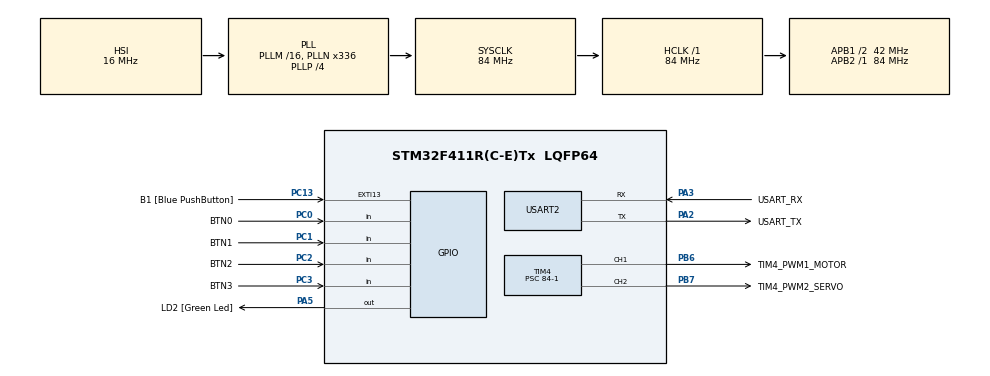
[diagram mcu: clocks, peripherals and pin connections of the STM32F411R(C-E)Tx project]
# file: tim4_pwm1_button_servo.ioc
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Mcu.Family=STM32F4
Mcu.Name=STM32F411R(C-E)Tx
Mcu.Package=LQFP64
NVIC.PriorityGroup=NVIC_PRIORITYGROUP_0
NVIC.TIM4_IRQn=true\:0\:0\:false\:false\:true\:true\:true\:true
PA13.GPIO_Label=TMS
PA13.Mode=Serial_Wire
PA13.Signal=SYS_JTMS-SWDIO
PA14.GPIO_Label=TCK
PA14.Mode=Serial_Wire
PA14.Signal=SYS_JTCK-SWCLK
PA2.GPIO_Label=USART_TX
PA2.Mode=Asynchronous
PA2.Signal=USART2_TX
PA3.GPIO_Label=USART_RX
PA3.Mode=Asynchronous
PA3.Signal=USART2_RX
PA5.GPIO_Label=LD2 [Green Led]
PA5.Signal=GPIO_Output
PB3.GPIO_Label=SWO
PB3.Signal=SYS_JTDO-SWO
PB6.GPIO_Label=TIM4_PWM1_MOTOR
PB6.Signal=S_TIM4_CH1
PB7.GPIO_Label=TIM4_PWM2_SERVO
PB7.Signal=S_TIM4_CH2
PC0.GPIO_Label=BTN0
PC0.Signal=GPIO_Input
PC1.GPIO_Label=BTN1
PC1.Signal=GPIO_Input
PC13-ANTI_TAMP.GPIO_Label=B1 [Blue PushButton]
PC13-ANTI_TAMP.GPIO_ModeDefaultEXTI=GPIO_MODE_IT_FALLING
PC13-ANTI_TAMP.Signal=GPXTI13
PC14-OSC32_IN.Signal=RCC_OSC32_IN
PC15-OSC32_OUT.Signal=RCC_OSC32_OUT
PC2.GPIO_Label=BTN2
PC2.Signal=GPIO_Input
PC3.GPIO_Label=BTN3
PC3.Signal=GPIO_Input
PH0\ -\ OSC_IN.Signal=RCC_OSC_IN
PH1\ -\ OSC_OUT.Signal=RCC_OSC_OUT
ProjectManager.HeapSize=0x200
ProjectManager.StackSize=0x400
ProjectManager.TargetToolchain=STM32CubeIDE
RCC.48MHZClocksFreq_Value=84000000
RCC.AHBFreq_Value=84000000
RCC.APB1CLKDivider=RCC_HCLK_DIV2
RCC.APB1Freq_Value=42000000
RCC.APB1TimFreq_Value=84000000
RCC.APB2Freq_Value=84000000
RCC.APB2TimFreq_Value=84000000
RCC.CortexFreq_Value=84000000
RCC.FLatency-AdvancedSettings=FLASH_LATENCY_2
RCC.HCLKFreq_Value=84000000
RCC.HSE_VALUE=8000000
RCC.HSI_VALUE=16000000
RCC.LSE_VALUE=32768
RCC.PLLN=336
RCC.PLLP=RCC_PLLP_DIV4
RCC.SYSCLKFreq_VALUE=84000000
RCC.SYSCLKSource=RCC_SYSCLKSOURCE_PLLCLK
RCC.VCOOutputFreq_Value=336000000
SH.S_TIM4_CH1.0=TIM4_CH1,PWM Generation1 CH1
SH.S_TIM4_CH2.0=TIM4_CH2,PWM Generation2 CH2
TIM4.AutoReloadPreload=TIM_AUTORELOAD_PRELOAD_ENABLE
TIM4.Channel-PWM\ Generation1\ CH1=TIM_CHANNEL_1
TIM4.Channel-PWM\ Generation2\ CH2=TIM_CHANNEL_2
TIM4.Period=20000-1
TIM4.Prescaler=84-1
TIM4.Pulse-PWM\ Generation1\ CH1=0
USART2.VirtualMode=VM_ASYNC
VP_TIM4_VS_ClockSourceINT.Mode=Internal
board=NUCLEO-F411RE

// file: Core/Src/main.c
/* USER CODE BEGIN Header */
/**
  ******************************************************************************
  * @file           : main.c
  * @brief          : Main program body
  ******************************************************************************
  * @attention
  *
  * Copyright (c) 2025 STMicroelectronics.
  * All rights reserved.
  *
  * This software is licensed under terms that can be found in the LICENSE file
  * in the root directory of this software component.
  * If no LICENSE file comes with this software, it is provided AS-IS.
  *
  ******************************************************************************
  */
/* USER CODE END Header */
#include "main.h"

/* USER CODE BEGIN Includes */
#include <stdio.h>
/* USER CODE END Includes */

/* USER CODE BEGIN PD */
#ifdef __GNUC__
/* With GCC, small printf (option LD Linker->Libraries->Small printf
   set to 'Yes') calls __io_putchar() */
#define PUTCHAR_PROTOTYPE int __io_putchar(int ch)
#else
#define PUTCHAR_PROTOTYPE int fputc(int ch, FILE *f)
#endif /* __GNUC__ */

/* USER CODE END PD */

TIM_HandleTypeDef htim4;

UART_HandleTypeDef huart2;

/* USER CODE BEGIN PV */
volatile int time3SecFlag = 0;
volatile unsigned int time3SecCnt = 0;
volatile unsigned int time3Cnt = 0;
volatile int time3CntFlag = 1;
volatile int time3_100msFlag = 0;
unsigned long debounceDelay = 100;	//10ms
unsigned long lastDebounceTime = 0;
/* USER CODE END PV */

void SystemClock_Config(void);
static void MX_GPIO_Init(void);
static void MX_USART2_UART_Init(void);
static void MX_TIM4_Init(void);

/* USER CODE BEGIN PFP */
int getKeyNumber();
/* USER CODE END PFP */

int main(void)
{

  /* USER CODE BEGIN 1 */
	int pulse = 0;
	int keyNumber = 0;
  /* USER CODE END 1 */

  /* MCU Configuration--------------------------------------------------------*/

  /* Reset of all peripherals, Initializes the Flash interface and the Systick. */
  HAL_Init();

  /* Configure the system clock */
  SystemClock_Config();

  /* Initialize all configured peripherals */
  MX_GPIO_Init();
  MX_USART2_UART_Init();
  MX_TIM4_Init();
  printf("start main()!\r\n");
  /* USER CODE BEGIN 2 */
  if(HAL_TIM_Base_Start_IT(&htim4) != HAL_OK)
	  Error_Handler();
  if(HAL_TIM_PWM_Start(&htim4, TIM_CHANNEL_1) != HAL_OK)
	  Error_Handler();
  if(HAL_TIM_PWM_Start(&htim4, TIM_CHANNEL_2) != HAL_OK)
	  Error_Handler();

  /* USER CODE END 2 */

  /* Infinite loop */
  /* USER CODE BEGIN WHILE */
  lastDebounceTime = HAL_GetTick();
  while (1)
  {
	  //HAL_GPIO_WritePin(LD2_GPIO_Port, LD2_Pin, HAL_GPIO_ReadPin(BTN3_GPIO_Port, BTN3_Pin));
	  if(time3SecFlag)
	  {
		  HAL_GPIO_TogglePin(LD2_GPIO_Port, LD2_Pin);
		  time3SecFlag = 0;
//		  printf("time3SecCnt : %d , pulse : %d \r\n", time3SecCnt, pulse);
	  }

	  if((HAL_GetTick() - lastDebounceTime) > debounceDelay)
	  {
		  keyNumber = getKeyNumber();
		  if(keyNumber != 0)
		  {
				  printf("keyNum : %d\r\n",keyNumber);
				  if( (pulse == 500 && keyNumber == 1) || (pulse == 2500 && keyNumber == 2))
					  continue;
				  if( (pulse == 500 && keyNumber == 3)|| (pulse == 2500 && keyNumber == 4))
					  continue;
#if 1  //180 servo
				  if(keyNumber == 1)
				  {
					  pulse = 500;
				  }
				  else if(keyNumber == 2)	//duty ratio 100%
				  {
					  pulse = 2500;
				  }
				  else if((keyNumber == 3) && (pulse > 500) )
				  {
					  pulse -= 200;		//-10%
				  }
				  else if((keyNumber == 4) && (pulse < 2500) )
				  {
					  pulse += 200;		//+10%
				  }
#endif

#if 0	//360 servo
				  if(keyNumber == 1)		//정지
				  {
					  pulse = 1500;
				  }
				  else if(keyNumber == 2)	//왼쪽 회전
				  {
					  pulse = 2500;
//					  pulse = 1700;			//왼쪽 천천히
				  }
				  else if(keyNumber == 3)	//오른쪽 회전
				  {
					  pulse = 500;
				  }
				  else if(keyNumber == 4)	//오른쪽 천천히
				  {
					  pulse = 1300;
				  }
#endif

				  __HAL_TIM_SetCompare(&htim4,TIM_CHANNEL_2, pulse-1);
				  printf("pulse : %d \r\n", pulse);
		  }

#if 0 //tim4_pwm1 (channel1)
		  if(keyNumber != 0)
		  {
				  printf("keyNum : %d\r\n",keyNumber);
				  if( (pulse == 0 && keyNumber == 1) || (pulse == 1000 && keyNumber == 2))
					  continue;
				  if( (pulse == 0 && keyNumber == 3)|| (pulse == 1000 && keyNumber == 4))
					  continue;

				  if(keyNumber == 1)
				  {
					  pulse = 0;
				  }
				  else if(keyNumber == 2)
				  {
					  pulse = 1000;
				  }
				  else if((keyNumber == 3) && (pulse > 0) )
				  {
					  pulse -= 100;		//-10%
				  }
				  else if((keyNumber == 4) && (pulse < 1000) )
				  {
					  pulse += 100;		//+10%
				  }
				  __HAL_TIM_SetCompare(&htim4,TIM_CHANNEL_1, (pulse-1)<0 ? 0 : pulse-1);
				  printf("pulse : %d \r\n", pulse);
		  }
#endif
	  }

#if 0
	  if(time3_100msFlag)
	  {
		  time3_100msFlag = 0;
		  if(pulse < 1000)
		  {
			  pulse += 10;
			  __HAL_TIM_SetCompare(&htim4,TIM_CHANNEL_1, pulse-1);
		  }
		  else if(pulse == 1000)
		  {
			  pulse = 0;
			  __HAL_TIM_SetCompare(&htim4,TIM_CHANNEL_1, pulse);
		  }
		  printf("time3SecCnt : %d , pulse : %d \r\n", time3SecCnt, pulse);
	  }
#endif
    /* USER CODE END WHILE */

  }
}

void SystemClock_Config(void)
{
  RCC_OscInitTypeDef RCC_OscInitStruct = {0};
  RCC_ClkInitTypeDef RCC_ClkInitStruct = {0};

  /** Configure the main internal regulator output voltage
  */
  __HAL_RCC_PWR_CLK_ENABLE();
  __HAL_PWR_VOLTAGESCALING_CONFIG(PWR_REGULATOR_VOLTAGE_SCALE1);

  /** Initializes the RCC Oscillators according to the specified parameters
  * in the RCC_OscInitTypeDef structure.
  */
  RCC_OscInitStruct.OscillatorType = RCC_OSCILLATORTYPE_HSI;
  RCC_OscInitStruct.HSIState = RCC_HSI_ON;
  RCC_OscInitStruct.HSICalibrationValue = RCC_HSICALIBRATION_DEFAULT;
  RCC_OscInitStruct.PLL.PLLState = RCC_PLL_ON;
  RCC_OscInitStruct.PLL.PLLSource = RCC_PLLSOURCE_HSI;
  RCC_OscInitStruct.PLL.PLLM = 16;
  RCC_OscInitStruct.PLL.PLLN = 336;
  RCC_OscInitStruct.PLL.PLLP = RCC_PLLP_DIV4;
  RCC_OscInitStruct.PLL.PLLQ = 4;
  if (HAL_RCC_OscConfig(&RCC_OscInitStruct) != HAL_OK)
  {
    Error_Handler();
  }

  /** Initializes the CPU, AHB and APB buses clocks
  */
  RCC_ClkInitStruct.ClockType = RCC_CLOCKTYPE_HCLK|RCC_CLOCKTYPE_SYSCLK
                              |RCC_CLOCKTYPE_PCLK1|RCC_CLOCKTYPE_PCLK2;
  RCC_ClkInitStruct.SYSCLKSource = RCC_SYSCLKSOURCE_PLLCLK;
  RCC_ClkInitStruct.AHBCLKDivider = RCC_SYSCLK_DIV1;
  RCC_ClkInitStruct.APB1CLKDivider = RCC_HCLK_DIV2;
  RCC_ClkInitStruct.APB2CLKDivider = RCC_HCLK_DIV1;

  if (HAL_RCC_ClockConfig(&RCC_ClkInitStruct, FLASH_LATENCY_2) != HAL_OK)
  {
    Error_Handler();
  }
}

static void MX_TIM4_Init(void)
{

  TIM_ClockConfigTypeDef sClockSourceConfig = {0};
  TIM_MasterConfigTypeDef sMasterConfig = {0};
  TIM_OC_InitTypeDef sConfigOC = {0};

  htim4.Instance = TIM4;
  htim4.Init.Prescaler = 84-1;
  htim4.Init.CounterMode = TIM_COUNTERMODE_UP;
  htim4.Init.Period = 20000-1;
  htim4.Init.ClockDivision = TIM_CLOCKDIVISION_DIV1;
  htim4.Init.AutoReloadPreload = TIM_AUTORELOAD_PRELOAD_ENABLE;
  if (HAL_TIM_Base_Init(&htim4) != HAL_OK)
  {
    Error_Handler();
  }
  sClockSourceConfig.ClockSource = TIM_CLOCKSOURCE_INTERNAL;
  if (HAL_TIM_ConfigClockSource(&htim4, &sClockSourceConfig) != HAL_OK)
  {
    Error_Handler();
  }
  if (HAL_TIM_PWM_Init(&htim4) != HAL_OK)
  {
    Error_Handler();
  }
  sMasterConfig.MasterOutputTrigger = TIM_TRGO_RESET;
  sMasterConfig.MasterSlaveMode = TIM_MASTERSLAVEMODE_DISABLE;
  if (HAL_TIMEx_MasterConfigSynchronization(&htim4, &sMasterConfig) != HAL_OK)
  {
    Error_Handler();
  }
  sConfigOC.OCMode = TIM_OCMODE_PWM1;
  sConfigOC.Pulse = 0;
  sConfigOC.OCPolarity = TIM_OCPOLARITY_HIGH;
  sConfigOC.OCFastMode = TIM_OCFAST_DISABLE;
  if (HAL_TIM_PWM_ConfigChannel(&htim4, &sConfigOC, TIM_CHANNEL_1) != HAL_OK)
  {
    Error_Handler();
  }
  if (HAL_TIM_PWM_ConfigChannel(&htim4, &sConfigOC, TIM_CHANNEL_2) != HAL_OK)
  {
    Error_Handler();
  }
  HAL_TIM_MspPostInit(&htim4);

}

static void MX_USART2_UART_Init(void)
{

  huart2.Instance = USART2;
  huart2.Init.BaudRate = 115200;
  huart2.Init.WordLength = UART_WORDLENGTH_8B;
  huart2.Init.StopBits = UART_STOPBITS_1;
  huart2.Init.Parity = UART_PARITY_NONE;
  huart2.Init.Mode = UART_MODE_TX_RX;
  huart2.Init.HwFlowCtl = UART_HWCONTROL_NONE;
  huart2.Init.OverSampling = UART_OVERSAMPLING_16;
  if (HAL_UART_Init(&huart2) != HAL_OK)
  {
    Error_Handler();
  }

}

static void MX_GPIO_Init(void)
{
  GPIO_InitTypeDef GPIO_InitStruct = {0};

  /* GPIO Ports Clock Enable */
  __HAL_RCC_GPIOC_CLK_ENABLE();
  __HAL_RCC_GPIOH_CLK_ENABLE();
  __HAL_RCC_GPIOA_CLK_ENABLE();
  __HAL_RCC_GPIOB_CLK_ENABLE();

  /*Configure GPIO pin Output Level */
  HAL_GPIO_WritePin(LD2_GPIO_Port, LD2_Pin, GPIO_PIN_RESET);

  /*Configure GPIO pin : B1_Pin */
  GPIO_InitStruct.Pin = B1_Pin;
  GPIO_InitStruct.Mode = GPIO_MODE_IT_FALLING;
  GPIO_InitStruct.Pull = GPIO_NOPULL;
  HAL_GPIO_Init(B1_GPIO_Port, &GPIO_InitStruct);

  /*Configure GPIO pins : BTN0_Pin BTN1_Pin BTN2_Pin BTN3_Pin */
  GPIO_InitStruct.Pin = BTN0_Pin|BTN1_Pin|BTN2_Pin|BTN3_Pin;
  GPIO_InitStruct.Mode = GPIO_MODE_INPUT;
  GPIO_InitStruct.Pull = GPIO_NOPULL;
  HAL_GPIO_Init(GPIOC, &GPIO_InitStruct);

  /*Configure GPIO pin : LD2_Pin */
  GPIO_InitStruct.Pin = LD2_Pin;
  GPIO_InitStruct.Mode = GPIO_MODE_OUTPUT_PP;
  GPIO_InitStruct.Pull = GPIO_NOPULL;
  GPIO_InitStruct.Speed = GPIO_SPEED_FREQ_LOW;
  HAL_GPIO_Init(LD2_GPIO_Port, &GPIO_InitStruct);

}

/* USER CODE BEGIN 4 */
void HAL_TIM_PeriodElapsedCallback(TIM_HandleTypeDef *htim)
{
	if(htim -> Instance == TIM4)
	{
		time3CntFlag = 1;
		time3Cnt++;
		if (!(time3Cnt % 100))
		{
			time3_100msFlag = 1;
		}
		if(time3Cnt >= 1000)	// 1ms * 1000 = 1sec
		{
			time3SecCnt++;
			time3SecFlag = 1;
			time3Cnt = 0;
		}
	}
}

/**
  * @brief  Retargets the C library printf function to the USART.
  * @param  None
  * @retval None
  */
PUTCHAR_PROTOTYPE
{
  /* Place your implementation of fputc here */
  /* e.g. write a character to the USART6 and Loop until the end of transmission */
  HAL_UART_Transmit(&huart2, (uint8_t *)&ch, 1, 0xFFFF);

  return ch;
}

int getKeyNumber()
{
	int keyNumber = 0;
	int buttonState=0;
	static int keyNumberOld=0;
	for(int i=0;i<4;i++)
	{
		  buttonState = HAL_GPIO_ReadPin(BTN0_GPIO_Port,BTN0_Pin<<i);
		  if(buttonState)
		  {
			  keyNumber = i+1;
			  if(keyNumber != keyNumberOld)
			  {
				  keyNumberOld = keyNumber;
				  return keyNumber;  //keyNum 1 ~ 4
			  }
			  else
				  return 0;
		  }
	}
	keyNumberOld=0;
	return keyNumber;
}

/* USER CODE END 4 */

void Error_Handler(void)
{
  /* USER CODE BEGIN Error_Handler_Debug */
  /* User can add his own implementation to report the HAL error return state */
  __disable_irq();
  while (1)
  {
	  printf("Error_Handler()\r\n");
  }
  /* USER CODE END Error_Handler_Debug */
}
